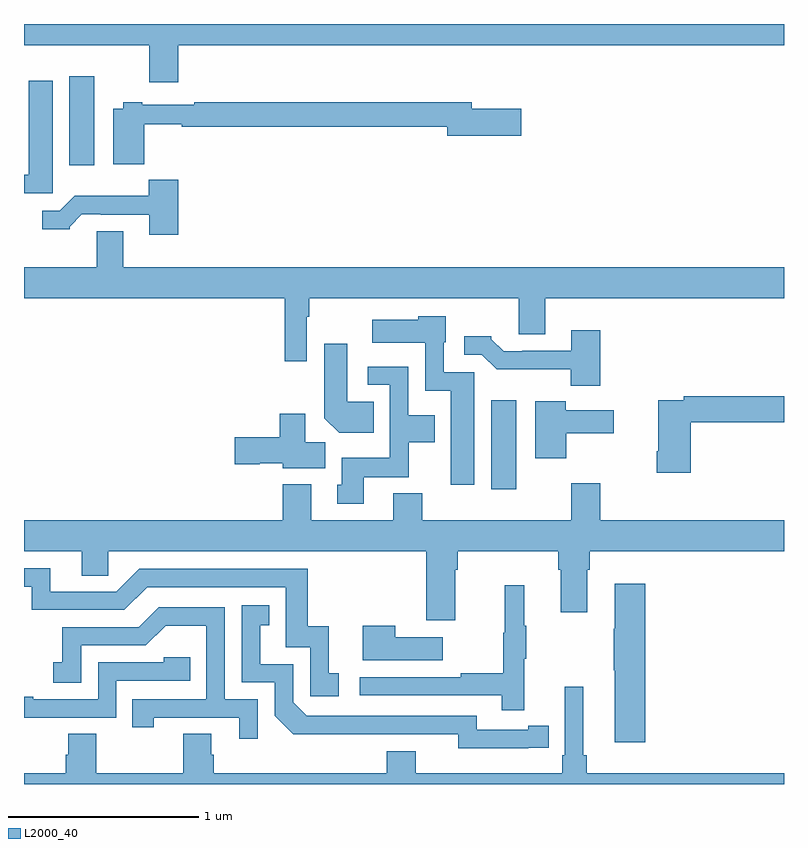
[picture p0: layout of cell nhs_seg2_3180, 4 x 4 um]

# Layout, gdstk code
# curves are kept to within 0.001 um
import gdstk
lib = gdstk.Library(unit=1e-6, precision=1e-09)
def R(c, l, rs):  # rectangles x0, y0, x1, y1
    for r in rs: c.add(gdstk.rectangle(r[:2], r[2:], *l))
def P(c, l, *ps):  # polygons
    for p in ps: c.add(gdstk.Polygon(p, *l))
L2000_40 = (2000, 40)

nhs_seg2_3180 = lib.new_cell('nhs_seg2_3180')
R(nhs_seg2_3180, L2000_40, [(281.459,593.352,281.59,593.821), (279.239,595.056,279.37,595.525)])
P(nhs_seg2_3180, L2000_40, [(279.812,595.688),(283,595.688),(283,595.8),(279,595.8),(279,595.688),(279.659,595.688),(279.659,595.494),(279.812,595.494)],
  [(279.151,595.501),(279.026,595.501),(279.026,595.006),(279,595.006),(279,594.909),(279.151,594.909)],
  [(279.632,595.273),(279.83,595.273),(279.83,595.258),(281.228,595.258),(281.228,595.211),(281.617,595.211),(281.617,595.353),(281.356,595.353),(281.356,595.387),(279.895,595.387),(279.895,595.374),(279.622,595.374),(279.622,595.387),(279.522,595.387),(279.522,595.354),(279.47,595.354),(279.47,595.061),(279.632,595.061)],
  [(279.812,594.979),(279.657,594.979),(279.657,594.895),(279.268,594.895),(279.189,594.816),(279.096,594.816),(279.096,594.719),(279.24,594.719),(279.24,594.734),(279.304,594.798),(279.403,594.798),(279.403,594.795),(279.659,594.795),(279.659,594.69),(279.812,594.69)],
  [(280.488,594.26),(280.501,594.26),(280.501,594.356),(281.603,594.356),(281.603,594.166),(281.743,594.166),(281.743,594.356),(283,594.356),(283,594.52),(279.523,594.52),(279.523,594.71),(279.383,594.71),(279.383,594.52),(279,594.52),(279,594.356),(280.372,594.356),(280.372,594.024),(280.488,594.024)],
  [(281.371,593.967),(281.208,593.967),(281.208,594.126),(281.221,594.126),(281.221,594.262),(281.076,594.262),(281.076,594.244),(280.833,594.244),(280.833,594.122),(281.112,594.122),(281.112,593.87),(281.246,593.87),(281.246,593.376),(281.371,593.376)],
  [(282.032,594.187),(281.879,594.187),(281.879,594.081),(281.623,594.081),(281.623,594.078),(281.524,594.078),(281.46,594.142),(281.46,594.157),(281.316,594.157),(281.316,594.06),(281.409,594.06),(281.488,593.982),(281.877,593.982),(281.877,593.897),(282.032,593.897)],
  [(280.841,593.812),(280.702,593.812),(280.702,594.118),(280.58,594.118),(280.58,593.726),(280.658,593.648),(280.841,593.648)],
  [(280.789,593.414),(281.025,593.414),(281.025,593.6),(281.161,593.6),(281.161,593.74),(281.022,593.74),(281.022,593.997),(280.809,593.997),(280.809,593.901),(280.926,593.901),(280.926,593.518),(280.673,593.518),(280.673,593.376),(280.649,593.376),(280.649,593.274),(280.789,593.274)],
  [(282.509,593.704),(283,593.704),(283,593.84),(282.472,593.84),(282.472,593.82),(282.338,593.82),(282.338,593.551),(282.331,593.551),(282.331,593.439),(282.509,593.439)],
  [(281.854,593.645),(282.103,593.645),(282.103,593.767),(281.852,593.767),(281.852,593.815),(281.69,593.815),(281.69,593.514),(281.854,593.514)],
  [(280.585,593.6),(280.48,593.6),(280.48,593.749),(280.346,593.749),(280.346,593.624),(280.11,593.624),(280.11,593.482),(280.242,593.482),(280.242,593.489),(280.362,593.489),(280.362,593.462),(280.585,593.462)],
  [(281.269,592.928),(281.282,592.928),(281.282,593.024),(281.813,593.024),(281.813,592.928),(281.825,592.928),(281.825,592.704),(281.965,592.704),(281.965,592.928),(281.978,592.928),(281.978,593.024),(283,593.024),(283,593.188),(282.032,593.188),(282.032,593.383),(281.879,593.383),(281.879,593.188),(281.096,593.188),(281.096,593.329),(280.943,593.329),(280.943,593.188),(280.513,593.188),(280.513,593.377),(280.361,593.377),(280.361,593.188),(279,593.188),(279,593.024),(279.305,593.024),(279.305,592.897),(279.444,592.897),(279.444,593.024),(281.117,593.024),(281.117,592.662),(281.269,592.662)],
  [(280.657,592.383),(280.604,592.383),(280.604,592.63),(280.493,592.63),(280.493,592.932),(279.606,592.932),(279.486,592.812),(279.139,592.812),(279.139,592.935),(279,592.935),(279,592.839),(279.042,592.839),(279.042,592.716),(279.528,592.716),(279.648,592.836),(280.377,592.836),(280.377,592.521),(280.506,592.521),(280.506,592.263),(280.657,592.263)],
  [(282.269,592.855),(282.11,592.855),(282.11,592.616),(282.103,592.616),(282.103,592.399),(282.11,592.399),(282.11,592.02),(282.269,592.02)],
  [(281.633,592.459),(281.644,592.459),(281.644,592.633),(281.633,592.633),(281.633,592.846),(281.53,592.846),(281.53,592.596),(281.523,592.596),(281.523,592.382),(281.299,592.382),(281.299,592.362),(280.767,592.362),(280.767,592.266),(281.515,592.266),(281.515,592.188),(281.633,592.188)],
  [(281.654,591.99),(281.762,591.99),(281.762,592.106),(281.654,592.106),(281.654,592.086),(281.382,592.086),(281.382,592.158),(280.488,592.158),(280.416,592.23),(280.416,592.431),(280.243,592.431),(280.243,592.635),(280.292,592.635),(280.292,592.741),(280.146,592.741),(280.146,592.335),(280.32,592.335),(280.32,592.158),(280.418,592.061),(281.286,592.062),(281.286,591.989)],
  [(280.23,592.245),(280.056,592.245),(280.056,592.731),(279.71,592.731),(279.605,592.626),(279.202,592.626),(279.202,592.441),(279.153,592.441),(279.153,592.332),(279.3,592.332),(279.3,592.53),(279.642,592.53),(279.746,592.634),(279.96,592.634),(279.96,592.245),(279.571,592.245),(279.571,592.098),(279.682,592.098),(279.682,592.149),(280.133,592.149),(280.133,592.038),(280.23,592.038)],
  [(281.203,592.573),(280.955,592.573),(280.955,592.633),(280.784,592.633),(280.784,592.451),(281.203,592.451)],
  [(279.486,592.344),(279.875,592.344),(279.875,592.467),(279.735,592.467),(279.735,592.44),(279.39,592.44),(279.39,592.245),(279.049,592.245),(279.049,592.258),(279,592.258),(279,592.149),(279.486,592.149)],
  [(283,591.856),(281.963,591.856),(281.963,591.952),(281.944,591.952),(281.944,592.312),(281.847,592.312),(281.847,591.952),(281.834,591.952),(281.834,591.856),(281.062,591.856),(281.062,591.973),(280.91,591.973),(280.91,591.856),(279.998,591.856),(279.998,591.954),(279.985,591.954),(279.985,592.064),(279.838,592.064),(279.838,591.856),(279.381,591.856),(279.381,592.064),(279.233,592.064),(279.233,591.954),(279.221,591.954),(279.221,591.856),(279,591.856),(279,591.8),(283,591.8)])

lib.write_gds('nhs_seg2_3180.gds')
